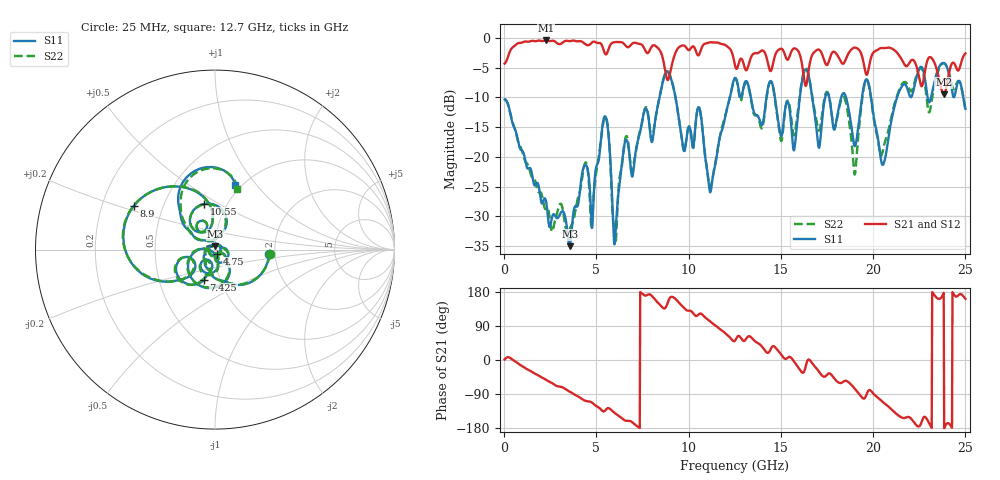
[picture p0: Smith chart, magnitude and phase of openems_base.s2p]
! R_s4_lshape_n0: L-shaped planes (24 × 16 mm minus an 8 × 6 mm corner), via L1 → L4, no return via
! stackup: 4-layer 1.6 mm FR-4
! ports: 1 L1, 2 L4
! openEMS 0.37.0, staircase, base mesh (dfine 0.07 mm), 660192 cells
# Hz S RI R 50
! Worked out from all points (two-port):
!   1000 points, 25 MHz to 25 GHz, reference 50 ohm
!   highest |S21| = -0.42 dB at 2.275 GHz (marker M1); lowest = -9.5 dB at 23.82 GHz (marker M2)
!   |S21| within 3 dB of the highest: 178.4 MHz to 8.598 GHz (8.42 GHz wide, 192 % of centre); 9.183 GHz to 12.43 GHz (3.247 GHz wide, 30 % of centre)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
!   lowest |S11| = -35.0 dB at 3.55 GHz (marker M3), VSWR 1.04, Z = 50.2 + j1.76 ohm
!   |S11| at or under -10 dB: start of sweep to 8.425 GHz; 9.287 GHz to 12.24 GHz (2.952 GHz wide, 27.4 % of centre); 19.89 GHz to 21.3 GHz (1.41 GHz wide, 6.85 % of centre)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
!   |S22| runs from -34.4 to -4.2 dB; largest |S21 - S12| = 0.008
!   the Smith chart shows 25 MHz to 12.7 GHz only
!   S11 on the Smith chart (normalised r, x): 25 MHz: 1.86, -0.10; 4.75 GHz: 1.02, -0.05; 7.425 GHz: 0.84, -0.29; 8.9 GHz: 0.34, +0.22; 10.55 GHz: 0.78, +0.43; 12.7 GHz: 0.94, +0.78
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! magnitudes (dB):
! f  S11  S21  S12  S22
! 25 MHz  -10.4  -4.3  -4.3  -10.3
! 2.275 GHz  -27.6  -0.4  -0.5  -28.7
! 3.55 GHz  -35.0  -0.5  -0.5  -32.1
! 4.2 GHz  -23.3  -0.6  -0.6  -24.2
! 4.75 GHz  -32.0  -0.8  -0.8  -31.8
! 5.45 GHz  -13.2  -2.5  -2.5  -13.4
! 6 GHz  -34.5  -0.7  -0.8  -33.0
! 7.425 GHz  -15.0  -1.1  -1.1  -14.9
! 8.35 GHz  -11.1  -1.7  -1.7  -11.0
! 8.9 GHz  -5.8  -7.0  -7.0  -5.8
! 9.725 GHz  -18.8  -1.3  -1.3  -18.8
! 10.55 GHz  -11.6  -2.9  -2.9  -11.7
! 11.2 GHz  -25.8  -0.7  -0.7  -25.0
! 12.53 GHz  -6.7  -4.8  -4.7  -6.9
! 12.7 GHz  -8.5  -4.5  -4.5  -8.8
! 15.7 GHz  -18.9  -1.8  -1.8  -16.4
! 16.68 GHz  -9.5  -3.0  -3.0  -9.4
! 19 GHz  -18.2  -1.6  -1.6  -23.0
! 19.62 GHz  -7.0  -6.1  -6.2  -7.2
! 20.85 GHz  -16.4  -1.6  -1.6  -15.3
! 23.82 GHz  -4.2  -9.5  -9.5  -4.2
! 25 GHz  -11.9  -2.6  -2.6  -12.0
